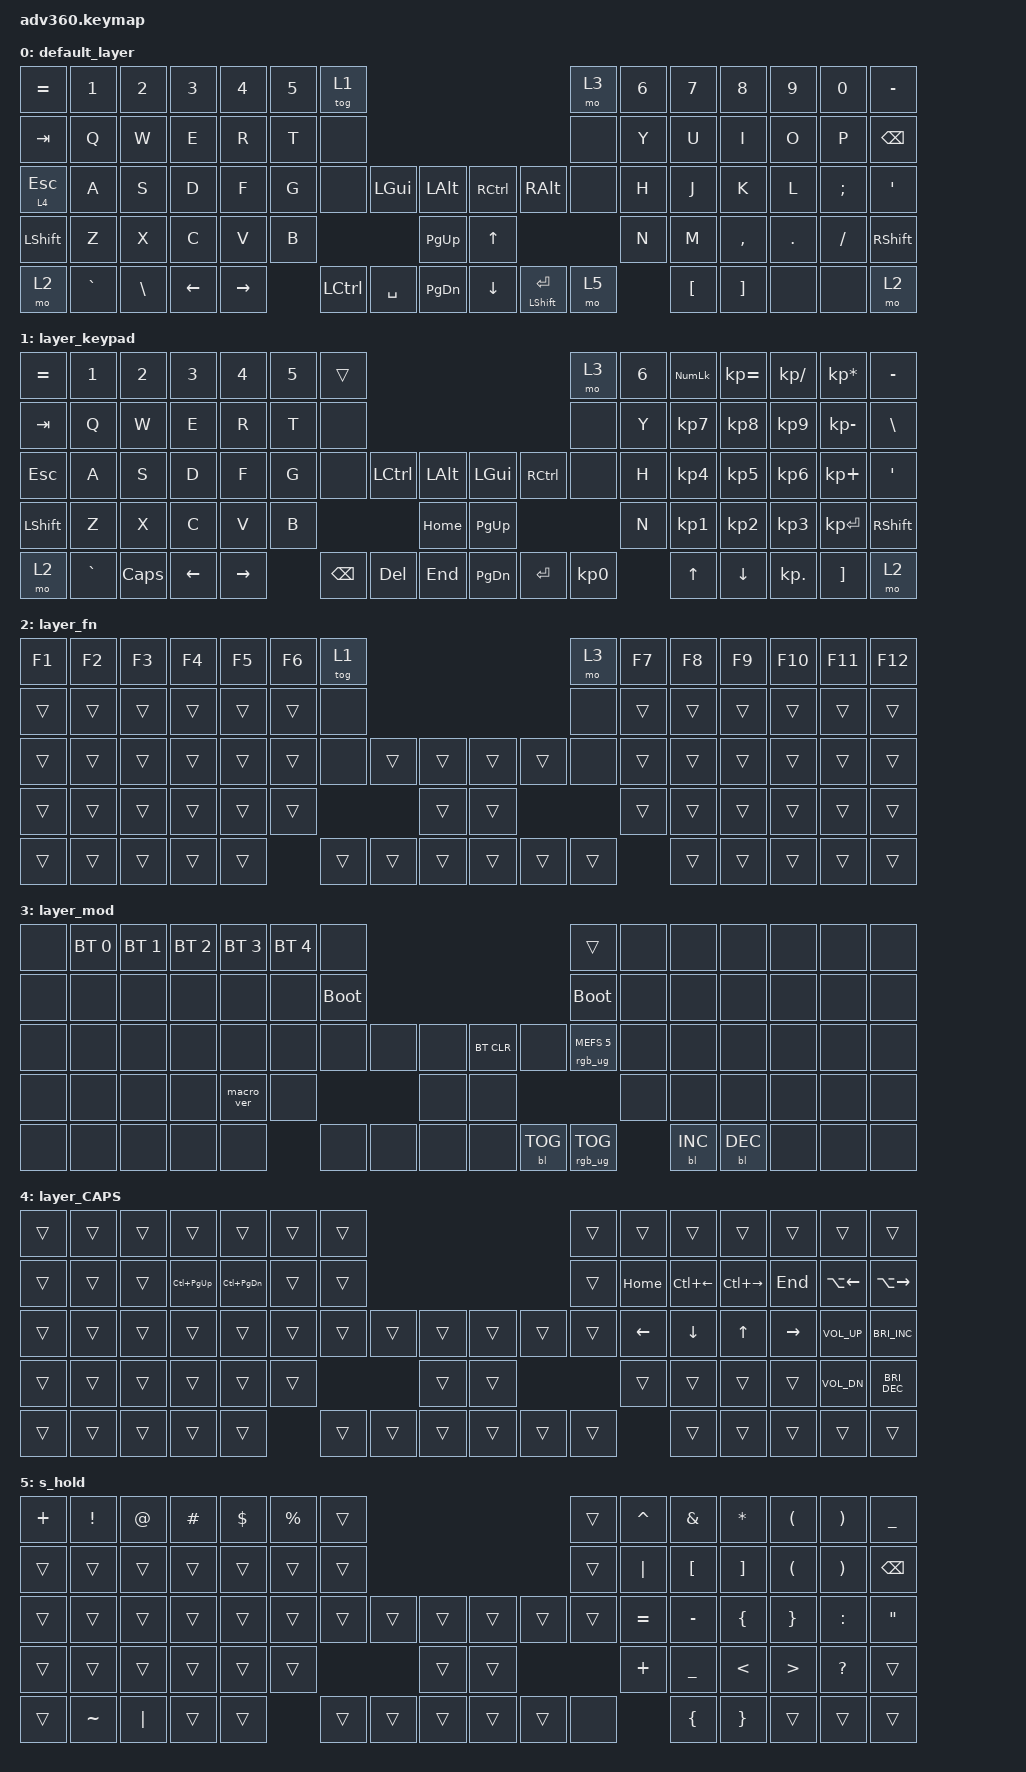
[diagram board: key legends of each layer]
/*
 * Copyright (c) 2020 The ZMK Contributors
 *
 * SPDX-License-Identifier: MIT
 */
/* THIS FILE WAS GENERATED!
 *
 * This file was generated automatically. You may or may not want to
 * edit it directly.
 */

#include <behaviors.dtsi>
#include <dt-bindings/zmk/backlight.h>
#include <dt-bindings/zmk/bt.h>
#include <dt-bindings/zmk/keys.h>
#include <dt-bindings/zmk/rgb.h>

/ {
    behaviors {
        #include "macros.dtsi"
    #include "version.dtsi"

        hm: homerow_mods {
            compatible = "zmk,behavior-hold-tap";
            label = "HOMEROW_MODS";
            #binding-cells = <2>;
            tapping-term-ms = <200>;
            quick_tap_ms = <175>;
            flavor = "tap-preferred";
            bindings = <&kp>, <&kp>;
        };
    };

    keymap {
        compatible = "zmk,keymap";

        default_layer {
            bindings = <
&kp EQUAL  &kp N1     &kp N2         &kp N3    &kp N4     &kp N5  &tog 1                                                                                      &mo 3  &kp N6  &kp N7            &kp N8             &kp N9   &kp N0    &kp MINUS
&kp TAB    &kp Q      &kp W          &kp E     &kp R      &kp T   &none                                                                                       &none  &kp Y   &kp U             &kp I              &kp O    &kp P     &kp BACKSPACE
&lt 4 ESC  &kp A      &kp S          &kp D     &kp F      &kp G   &none             &kp LEFT_GUI  &kp LEFT_ALT      &kp RIGHT_CONTROL  &kp RIGHT_ALT          &none  &kp H   &kp J             &kp K              &kp L    &kp SEMI  &kp SQT
&kp LSHFT  &kp Z      &kp X          &kp C     &kp V      &kp B                                   &kp PG_UP         &kp UP_ARROW                                     &kp N   &kp M             &kp COMMA          &kp DOT  &kp FSLH  &kp RSHFT
&mo 2      &kp GRAVE  &kp BACKSLASH  &kp LEFT  &kp RIGHT          &kp LEFT_CONTROL  &kp SPACE     &kp PG_DN         &kp DOWN_ARROW     &mt LEFT_SHIFT RETURN  &mo 5          &kp LEFT_BRACKET  &kp RIGHT_BRACKET  &none    &none     &mo 2
            >;
        };

        layer_keypad {
            bindings = <
&kp EQUAL  &kp N1     &kp N2    &kp N3    &kp N4     &kp N5  &trans                                                   &mo 3      &kp N6  &kp KP_NUM  &kp KP_EQUAL  &kp KP_DIVIDE  &kp KP_MULTIPLY  &kp MINUS
&kp TAB    &kp Q      &kp W     &kp E     &kp R      &kp T   &none                                                    &none      &kp Y   &kp KP_N7   &kp KP_N8     &kp KP_N9      &kp KP_MINUS     &kp BSLH
&kp ESC    &kp A      &kp S     &kp D     &kp F      &kp G   &none     &kp LCTRL  &kp LALT      &kp LGUI   &kp RCTRL  &none      &kp H   &kp KP_N4   &kp KP_N5     &kp KP_N6      &kp KP_PLUS      &kp SQT
&kp LSHFT  &kp Z      &kp X     &kp C     &kp V      &kp B                        &kp HOME      &kp PG_UP                        &kp N   &kp KP_N1   &kp KP_N2     &kp KP_N3      &kp KP_ENTER     &kp RSHFT
&mo 2      &kp GRAVE  &kp CAPS  &kp LEFT  &kp RIGHT          &kp BSPC  &kp DEL    &kp END       &kp PG_DN  &kp ENTER  &kp KP_N0          &kp UP      &kp DOWN      &kp KP_DOT     &kp RBKT         &mo 2
            >;
        };

        layer_fn {
            bindings = <
&kp F1  &kp F2  &kp F3  &kp F4  &kp F5  &kp F6  &tog 1                                      &mo 3   &kp F7  &kp F8  &kp F9  &kp F10  &kp F11  &kp F12
&trans  &trans  &trans  &trans  &trans  &trans  &none                                       &none   &trans  &trans  &trans  &trans   &trans   &trans
&trans  &trans  &trans  &trans  &trans  &trans  &none   &trans  &trans      &trans  &trans  &none   &trans  &trans  &trans  &trans   &trans   &trans
&trans  &trans  &trans  &trans  &trans  &trans                  &trans      &trans                  &trans  &trans  &trans  &trans   &trans   &trans
&trans  &trans  &trans  &trans  &trans          &trans  &trans  &trans      &trans  &trans  &trans          &trans  &trans  &trans   &trans   &trans
            >;
        };

        layer_mod {
            bindings = <
&none  &bt BT_SEL 0  &bt BT_SEL 1  &bt BT_SEL 2  &bt BT_SEL 3  &bt BT_SEL 4  &none                                                  &trans                  &none  &none       &none       &none  &none  &none
&none  &none         &none         &none         &none         &none         &bootloader                                            &bootloader             &none  &none       &none       &none  &none  &none
&none  &none         &none         &none         &none         &none         &none        &none  &none      &bt BT_CLR  &none       &rgb_ug RGB_MEFS_CMD 5  &none  &none       &none       &none  &none  &none
&none  &none         &none         &none         &macro_ver    &none                             &none      &none                                           &none  &none       &none       &none  &none  &none
&none  &none         &none         &none         &none                       &none        &none  &none      &none       &bl BL_TOG  &rgb_ug RGB_TOG                &bl BL_INC  &bl BL_DEC  &none  &none  &none
            >;
        };

        layer_CAPS {
            bindings = <
&trans  &trans  &trans  &trans           &trans             &trans  &trans                                      &trans  &trans          &trans              &trans               &trans           &trans              &trans
&trans  &trans  &trans  &kp LC(PAGE_UP)  &kp LC(PAGE_DOWN)  &trans  &trans                                      &trans  &kp HOME        &kp LC(LEFT_ARROW)  &kp LC(RIGHT_ARROW)  &kp END          &kp LA(LEFT_ARROW)  &kp LA(RIGHT_ARROW)
&trans  &trans  &trans  &trans           &trans             &trans  &trans  &trans  &trans      &trans  &trans  &trans  &kp LEFT_ARROW  &kp DOWN_ARROW      &kp UP_ARROW         &kp RIGHT_ARROW  &kp C_VOLUME_UP     &kp C_BRIGHTNESS_INC
&trans  &trans  &trans  &trans           &trans             &trans                  &trans      &trans                  &trans          &trans              &trans               &trans           &kp C_VOL_DN        &kp C_BRIGHTNESS_DEC
&trans  &trans  &trans  &trans           &trans                     &trans  &trans  &trans      &trans  &trans  &trans                  &trans              &trans               &trans           &trans              &trans
            >;
        };

        s_hold {
            bindings = <
&kp PLUS  &kp EXCLAMATION  &kp AT_SIGN  &kp HASH  &kp DOLLAR  &kp PERCENT  &trans                                      &trans  &kp CARET  &kp AMPERSAND     &kp ASTERISK       &kp LEFT_PARENTHESIS  &kp RIGHT_PARENTHESIS  &kp UNDERSCORE
&trans    &trans           &trans       &trans    &trans      &trans       &trans                                      &trans  &kp PIPE   &kp LEFT_BRACKET  &kp RIGHT_BRACKET  &kp LEFT_PARENTHESIS  &kp RIGHT_PARENTHESIS  &kp BACKSPACE
&trans    &trans           &trans       &trans    &trans      &trans       &trans  &trans  &trans      &trans  &trans  &trans  &kp EQUAL  &kp MINUS         &kp LEFT_BRACE     &kp RIGHT_BRACE       &kp COLON              &kp DOUBLE_QUOTES
&trans    &trans           &trans       &trans    &trans      &trans                       &trans      &trans                  &kp PLUS   &kp UNDERSCORE    &kp LESS_THAN      &kp GREATER_THAN      &kp QUESTION           &trans
&trans    &kp TILDE        &kp PIPE     &trans    &trans                   &trans  &trans  &trans      &trans  &trans  &none              &kp LEFT_BRACE    &kp RIGHT_BRACE    &trans                &trans                 &trans
            >;
        };
    };
};
